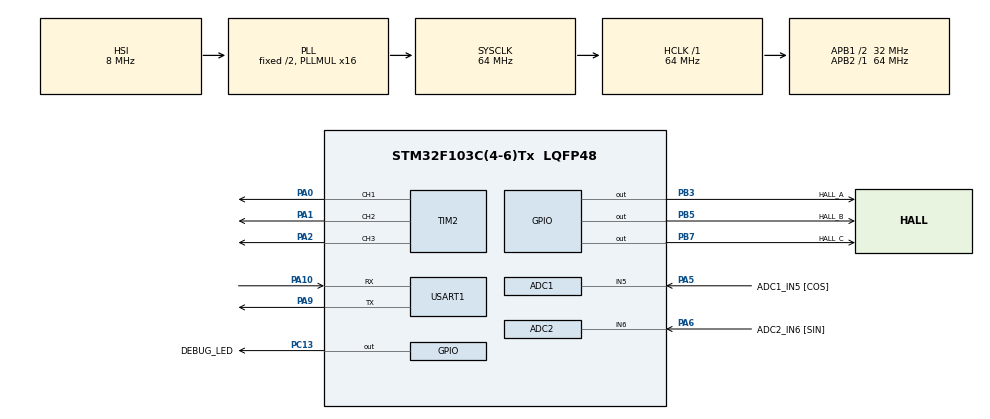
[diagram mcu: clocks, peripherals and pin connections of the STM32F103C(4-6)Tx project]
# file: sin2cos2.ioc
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ADC1.Channel-1\#ChannelRegularConversion=ADC_CHANNEL_5
ADC1.NbrOfConversionFlag=1
ADC1.Rank-1\#ChannelRegularConversion=1
ADC1.SamplingTime-1\#ChannelRegularConversion=ADC_SAMPLETIME_1CYCLE_5
ADC1.master=1
ADC2.Channel-2\#ChannelRegularConversion=ADC_CHANNEL_6
ADC2.NbrOfConversionFlag=1
ADC2.Rank-2\#ChannelRegularConversion=1
ADC2.SamplingTime-2\#ChannelRegularConversion=ADC_SAMPLETIME_1CYCLE_5
Mcu.Family=STM32F1
Mcu.Name=STM32F103C(4-6)Tx
Mcu.Package=LQFP48
NVIC.PriorityGroup=NVIC_PRIORITYGROUP_4
PA0-WKUP.Signal=S_TIM2_CH1_ETR
PA1.Signal=S_TIM2_CH2
PA10.Mode=Asynchronous
PA10.Signal=USART1_RX
PA2.Signal=S_TIM2_CH3
PA5.GPIO_Label=ADC1_IN5 [COS]
PA5.Signal=ADCx_IN5
PA6.GPIO_Label=ADC2_IN6 [SIN]
PA6.Signal=ADCx_IN6
PA9.Mode=Asynchronous
PA9.Signal=USART1_TX
PB3.GPIO_Label=HALL_A
PB3.Signal=GPIO_Output
PB5.GPIO_Label=HALL_B
PB5.GPIO_PuPd=GPIO_PULLDOWN
PB5.Signal=GPIO_Output
PB7.GPIO_Label=HALL_C
PB7.Signal=GPIO_Output
PC13-TAMPER-RTC.GPIO_Label=DEBUG_LED
PC13-TAMPER-RTC.Signal=GPIO_Output
ProjectManager.HeapSize=0x200
ProjectManager.StackSize=0x400
ProjectManager.TargetToolchain=Makefile
RCC.ADCPresc=RCC_ADCPCLK2_DIV6
RCC.AHBFreq_Value=64000000
RCC.APB1CLKDivider=RCC_HCLK_DIV2
RCC.APB1Freq_Value=32000000
RCC.APB1TimFreq_Value=64000000
RCC.APB2Freq_Value=64000000
RCC.APB2TimFreq_Value=64000000
RCC.HCLKFreq_Value=64000000
RCC.PLLMUL=RCC_PLL_MUL16
RCC.SYSCLKFreq_VALUE=64000000
RCC.SYSCLKSource=RCC_SYSCLKSOURCE_PLLCLK
RCC.USBFreq_Value=64000000
SH.ADCx_IN5.0=ADC1_IN5,IN5
SH.ADCx_IN6.0=ADC2_IN6,IN6
SH.S_TIM2_CH1_ETR.0=TIM2_CH1,PWM Generation1 CH1
SH.S_TIM2_CH2.0=TIM2_CH2,PWM Generation2 CH2
SH.S_TIM2_CH3.0=TIM2_CH3,PWM Generation3 CH3
TIM2.Channel-PWM\ Generation1\ CH1=TIM_CHANNEL_1
TIM2.Channel-PWM\ Generation2\ CH2=TIM_CHANNEL_2
TIM2.Channel-PWM\ Generation3\ CH3=TIM_CHANNEL_3
USART1.VirtualMode=VM_ASYNC
VP_SYS_VS_ND.Mode=No_Debug
board=custom

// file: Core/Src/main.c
/* USER CODE BEGIN Header */
/**
 ******************************************************************************
 * @file           : main.c
 * @brief          : Main program body
 ******************************************************************************
 * @attention
 *
 * Copyright (c) 2025 STMicroelectronics.
 * All rights reserved.
 *
 * This software is licensed under terms that can be found in the LICENSE file
 * in the root directory of this software component.
 * If no LICENSE file comes with this software, it is provided AS-IS.
 *
 ******************************************************************************
 */
/* USER CODE END Header */
#include "main.h"
#include "adc.h"
#include "tim.h"
#include "usart.h"
#include "gpio.h"

/* USER CODE BEGIN Includes */
#include "atan_lut.h"
#include "math.h"
#include "stm32f1xx_hal_gpio.h"
#include <stdio.h>
/* USER CODE END Includes */

/* USER CODE BEGIN PD */
#define SIN_PERIODS_PER_REV 1
#define HALL_PERIODS_PER_REV 20
#define OFFSET 0
#define LUT_SIZE 1024
#define ADC_MAX 3479.0
#define ADC_MIN 1850.0

/* USER CODE END PD */

void SystemClock_Config(void);
/* USER CODE BEGIN PFP */
static float fast_atan(uint16_t ADC_C, uint16_t ADC_S);
void HallPositionOutput(int theta_deg);
#define PUTCHAR_PROTOTYPE int __io_putchar(int ch)
/* USER CODE END PFP */

int main(void)
{

  /* USER CODE BEGIN 1 */

  uint16_t sin_adc = 0;
  uint16_t cos_adc = 0;
  float theta_rad;
  int theta_deg; // only for debugging
  int historical_value = 0; // Initialize historical value for decay and merge
  int merged_value = 0; // Initialize merged value

  int sin;
  int cos;
  int rad;
  int deg;
  /* USER CODE END 1 */

  /* MCU Configuration--------------------------------------------------------*/

  /* Reset of all peripherals, Initializes the Flash interface and the Systick. */
  HAL_Init();

  /* Configure the system clock */
  SystemClock_Config();

  /* Initialize all configured peripherals */
  MX_GPIO_Init();
  MX_ADC1_Init();
  MX_ADC2_Init();
  MX_USART1_UART_Init();
  MX_TIM2_Init();

  /* Infinite loop */
  /* USER CODE BEGIN WHILE */
  while (1) {
    HAL_ADC_Start(&hadc1); // Needs to be called every time
    HAL_ADC_PollForConversion(&hadc1, HAL_MAX_DELAY);
    cos_adc = decayAndMerge(cos_adc, HAL_ADC_GetValue(&hadc1)); // Decay and merge the new value with the historical value

    HAL_ADC_Start(&hadc2); // Needs to be called every time
    HAL_ADC_PollForConversion(&hadc2, HAL_MAX_DELAY);
    sin_adc = decayAndMerge(sin_adc, HAL_ADC_GetValue(&hadc2)); // Decay and merge the new value with the historical value

    // cos_adc = 1000;
    // sin_adc = 3000; // Test values for debugging

    // theta_rad = fast_atan(cos_adc, sin_adc);
    const float midpoint = (ADC_MAX + ADC_MIN) / 2.0f;
    float num = cos_adc - midpoint;
    float den = sin_adc - midpoint;
    if (den != 0){
      theta_rad = atan2f(num, den); // Use atan2 for better handling of quadrants
    }
    else {
      theta_rad = 0; // Handle the case where den is zero to avoid division by zero
    }

    theta_deg = (int)(180.0 / M_PI * theta_rad)+180;

    // if (cos_adc > 180) {
    //   HAL_GPIO_WritePin(DEBUG_LED_GPIO_Port, DEBUG_LED_Pin, GPIO_PIN_SET);
    // } else {
    //   HAL_GPIO_WritePin(DEBUG_LED_GPIO_Port, DEBUG_LED_Pin, GPIO_PIN_RESET);
    // }
    /* USER CODE END WHILE */

    /* USER CODE BEGIN 3 */
    rad = (int)(theta_rad * 1000); // Convert to milliradians
    // printf("ADC_C: %d ADC_S: %d theta_deg: %d rad: %d (millirad)\r\n", cos_adc, sin_adc, theta_deg, rad);

    HallPositionOutput_10PairNot(theta_deg); // Call the function to output the Hall position
    // HAL_Delay(10);

  }
  /* USER CODE END 3 */
}

void SystemClock_Config(void)
{
  RCC_OscInitTypeDef RCC_OscInitStruct = {0};
  RCC_ClkInitTypeDef RCC_ClkInitStruct = {0};
  RCC_PeriphCLKInitTypeDef PeriphClkInit = {0};

  /** Initializes the RCC Oscillators according to the specified parameters
  * in the RCC_OscInitTypeDef structure.
  */
  RCC_OscInitStruct.OscillatorType = RCC_OSCILLATORTYPE_HSI;
  RCC_OscInitStruct.HSIState = RCC_HSI_ON;
  RCC_OscInitStruct.HSICalibrationValue = RCC_HSICALIBRATION_DEFAULT;
  RCC_OscInitStruct.PLL.PLLState = RCC_PLL_ON;
  RCC_OscInitStruct.PLL.PLLSource = RCC_PLLSOURCE_HSI_DIV2;
  RCC_OscInitStruct.PLL.PLLMUL = RCC_PLL_MUL16;
  if (HAL_RCC_OscConfig(&RCC_OscInitStruct) != HAL_OK)
  {
    Error_Handler();
  }

  /** Initializes the CPU, AHB and APB buses clocks
  */
  RCC_ClkInitStruct.ClockType = RCC_CLOCKTYPE_HCLK|RCC_CLOCKTYPE_SYSCLK
                              |RCC_CLOCKTYPE_PCLK1|RCC_CLOCKTYPE_PCLK2;
  RCC_ClkInitStruct.SYSCLKSource = RCC_SYSCLKSOURCE_PLLCLK;
  RCC_ClkInitStruct.AHBCLKDivider = RCC_SYSCLK_DIV1;
  RCC_ClkInitStruct.APB1CLKDivider = RCC_HCLK_DIV2;
  RCC_ClkInitStruct.APB2CLKDivider = RCC_HCLK_DIV1;

  if (HAL_RCC_ClockConfig(&RCC_ClkInitStruct, FLASH_LATENCY_2) != HAL_OK)
  {
    Error_Handler();
  }
  PeriphClkInit.PeriphClockSelection = RCC_PERIPHCLK_ADC;
  PeriphClkInit.AdcClockSelection = RCC_ADCPCLK2_DIV6;
  if (HAL_RCCEx_PeriphCLKConfig(&PeriphClkInit) != HAL_OK)
  {
    Error_Handler();
  }
}

/* USER CODE BEGIN 4 */

static float fast_atan(uint16_t ADC_C, uint16_t ADC_S) {
  const float midpoint = (ADC_MAX + ADC_MIN) / 2.0f;
  float num = ADC_C - midpoint;
  float den = ADC_S - midpoint;
  if (den == 0)
    return (num >= 0) ? 0 : M_PI;
  float r = fabs(num / den);
  int index = (int)(r * 1023.0f);
  float theta = ATAN_LUT[index];
  float next_theta = ATAN_LUT[index + 1];
  theta += (r - (index / 1023.0f)) * (next_theta - theta);
  if (num > den)
    theta = M_PI_2 - theta;
  if (num < 0 && den > 0)
    return M_PI + theta;
  if (den < 0)
    return M_PI - theta;
  return theta;
}

int decayAndMerge(int historical_value, int new_value){
  if(historical_value == 0){
    historical_value = new_value; // Initialize historical value if it's zero
  }
  float decay_rate = 0.05;

  return (int)(historical_value * (1.0-decay_rate) + new_value * decay_rate);

  // // Decay the historical value by a factor of 0.9
  // historical_value = (int)(historical_value * 0.9 + new_value * 0.1);
  // // Merge the new value with the decayed historical value
  // int merged_value = (int)(historical_value * 0.5 + new_value * 0.5);
  // return merged_value;
}

/**
 * @brief  This function is used to output the Hall position. For a single pole pair?
 * @param  theta_deg: The angle in degrees.
 * @retval None
 * @author Alex
 */
void HallPositionOutput(theta_deg){
  if(theta_deg >= 0 && theta_deg < 60) {
    //HALL A = 1, HALL_B = 0, HALL_C = 1
    HAL_GPIO_WritePin(HALL_A_GPIO_Port, HALL_A_Pin, GPIO_PIN_SET);
    HAL_GPIO_WritePin(HALL_B_GPIO_Port, HALL_B_Pin, GPIO_PIN_RESET);
    HAL_GPIO_WritePin(HALL_C_GPIO_Port, HALL_C_Pin, GPIO_PIN_SET);

    // printf("HALL A = 1, HALL B = 0, HALL C = 1\r\n");
  } else if (theta_deg >= 60 && theta_deg < 120){
    //HALL A = 1, HALL_B = 0, HALL_C = 0
    HAL_GPIO_WritePin(HALL_A_GPIO_Port, HALL_A_Pin, GPIO_PIN_SET);
    HAL_GPIO_WritePin(HALL_B_GPIO_Port, HALL_B_Pin, GPIO_PIN_RESET);
    HAL_GPIO_WritePin(HALL_C_GPIO_Port, HALL_C_Pin, GPIO_PIN_RESET);

    // printf("HALL A = 1, HALL B = 0, HALL C = 0\r\n");
  } else if (theta_deg >= 120 && theta_deg < 180){
    //HALL A = 1, HALL_B = 1, HALL_C = 0
    HAL_GPIO_WritePin(HALL_A_GPIO_Port, HALL_A_Pin, GPIO_PIN_SET);
    HAL_GPIO_WritePin(HALL_B_GPIO_Port, HALL_B_Pin, GPIO_PIN_SET);
    HAL_GPIO_WritePin(HALL_C_GPIO_Port, HALL_C_Pin, GPIO_PIN_RESET);

    // printf("HALL A = 1, HALL B = 1, HALL C = 0\r\n");
  } else if (theta_deg >= 180 && theta_deg < 240){
    //HALL A = 0, HALL_B = 1, HALL_C = 0
    HAL_GPIO_WritePin(HALL_A_GPIO_Port, HALL_A_Pin, GPIO_PIN_RESET);
    HAL_GPIO_WritePin(HALL_B_GPIO_Port, HALL_B_Pin, GPIO_PIN_SET);
    HAL_GPIO_WritePin(HALL_C_GPIO_Port, HALL_C_Pin, GPIO_PIN_RESET);

    // printf("HALL A = 0, HALL B = 1, HALL C = 0\r\n");
  } else if (theta_deg >= 240 && theta_deg < 300){
    //HALL A = 0, HALL_B = 1, HALL_C = 1
    HAL_GPIO_WritePin(HALL_A_GPIO_Port, HALL_A_Pin, GPIO_PIN_RESET);
    HAL_GPIO_WritePin(HALL_B_GPIO_Port, HALL_B_Pin, GPIO_PIN_SET);
    HAL_GPIO_WritePin(HALL_C_GPIO_Port, HALL_C_Pin, GPIO_PIN_SET);

    // printf("HALL A = 0, HALL B = 1, HALL C = 1\r\n");
  } else if (theta_deg >= 300 && theta_deg < 360){
    //HALL A = 0, HALL_B = 0, HALL_C = 1
    HAL_GPIO_WritePin(HALL_A_GPIO_Port, HALL_A_Pin, GPIO_PIN_RESET);
    HAL_GPIO_WritePin(HALL_B_GPIO_Port, HALL_B_Pin, GPIO_PIN_RESET);
    HAL_GPIO_WritePin(HALL_C_GPIO_Port, HALL_C_Pin, GPIO_PIN_SET);

    // printf("HALL A = 0, HALL B = 0, HALL C = 1\r\n");
  } else {
    // Invalid angle
    // printf("Invalid angle: %d\r\n", theta_deg);
  }

}

/**
 * @brief  This function is used to output the Hall position for a 10-pair motor.
 * @param  theta_deg: The angle in degrees.
 * @retval None
 * @author Alex
 */
void HallPositionOutput_10Pair(theta_deg){
  // Normalize the angle to a single electrical cycle (0-36 degrees)
  int theta_elec = theta_deg % 36;

  if (theta_elec >= 0 && theta_elec < 6) {
    HAL_GPIO_WritePin(HALL_A_GPIO_Port, HALL_A_Pin, GPIO_PIN_RESET);
    HAL_GPIO_WritePin(HALL_B_GPIO_Port, HALL_B_Pin, GPIO_PIN_SET);
    HAL_GPIO_WritePin(HALL_C_GPIO_Port, HALL_C_Pin, GPIO_PIN_RESET);
    // printf("HALL A = 1, HALL B = 0, HALL C = 1\r\n");
  } else if (theta_elec >= 6 && theta_elec < 12) {
    HAL_GPIO_WritePin(HALL_A_GPIO_Port, HALL_A_Pin, GPIO_PIN_SET);
    HAL_GPIO_WritePin(HALL_B_GPIO_Port, HALL_B_Pin, GPIO_PIN_SET);
    HAL_GPIO_WritePin(HALL_C_GPIO_Port, HALL_C_Pin, GPIO_PIN_RESET);
    // printf("HALL A = 1, HALL B = 0, HALL C = 0\r\n");
  } else if (theta_elec >= 12 && theta_elec < 18) {
    HAL_GPIO_WritePin(HALL_A_GPIO_Port, HALL_A_Pin, GPIO_PIN_SET);
    HAL_GPIO_WritePin(HALL_B_GPIO_Port, HALL_B_Pin, GPIO_PIN_RESET);
    HAL_GPIO_WritePin(HALL_C_GPIO_Port, HALL_C_Pin, GPIO_PIN_RESET);
    // printf("HALL A = 1, HALL B = 1, HALL C = 0\r\n");
  } else if (theta_elec >= 18 && theta_elec < 24) {
    HAL_GPIO_WritePin(HALL_A_GPIO_Port, HALL_A_Pin, GPIO_PIN_SET);
    HAL_GPIO_WritePin(HALL_B_GPIO_Port, HALL_B_Pin, GPIO_PIN_RESET);
    HAL_GPIO_WritePin(HALL_C_GPIO_Port, HALL_C_Pin, GPIO_PIN_SET);
    // printf("HALL A = 0, HALL B = 1, HALL C = 0\r\n");
  } else if (theta_elec >= 24 && theta_elec < 30) {
    HAL_GPIO_WritePin(HALL_A_GPIO_Port, HALL_A_Pin, GPIO_PIN_RESET);
    HAL_GPIO_WritePin(HALL_B_GPIO_Port, HALL_B_Pin, GPIO_PIN_RESET);
    HAL_GPIO_WritePin(HALL_C_GPIO_Port, HALL_C_Pin, GPIO_PIN_SET);
    // printf("HALL A = 0, HALL B = 1, HALL C = 1\r\n");
  } else if (theta_elec >= 30 && theta_elec < 36) {
    HAL_GPIO_WritePin(HALL_A_GPIO_Port, HALL_A_Pin, GPIO_PIN_RESET);
    HAL_GPIO_WritePin(HALL_B_GPIO_Port, HALL_B_Pin, GPIO_PIN_SET);
    HAL_GPIO_WritePin(HALL_C_GPIO_Port, HALL_C_Pin, GPIO_PIN_SET);
    // printf("HALL A = 0, HALL B = 0, HALL C = 1\r\n");
  } else {
    // printf("Invalid angle: %d\r\n", theta_deg);
  }

}

/**
 * @brief  This function is used to output the Hall position for a 10-pair motor.
 * @param  theta_deg: The angle in degrees.
 * @retval None
 * @author Alex
 */
void HallPositionOutput_10PairNot(theta_deg){
  // Normalize the angle to a single electrical cycle (0-36 degrees)
  int theta_elec = theta_deg % 36;

  if (theta_elec >= 0 && theta_elec < 6) {
    HAL_GPIO_WritePin(HALL_A_GPIO_Port, HALL_A_Pin, GPIO_PIN_SET);
    HAL_GPIO_WritePin(HALL_B_GPIO_Port, HALL_B_Pin, GPIO_PIN_RESET);
    HAL_GPIO_WritePin(HALL_C_GPIO_Port, HALL_C_Pin, GPIO_PIN_SET);
    // printf("HALL A = 1, HALL B = 0, HALL C = 1\r\n");
  } else if (theta_elec >= 6 && theta_elec < 12) {
    HAL_GPIO_WritePin(HALL_A_GPIO_Port, HALL_A_Pin, GPIO_PIN_RESET);
    HAL_GPIO_WritePin(HALL_B_GPIO_Port, HALL_B_Pin, GPIO_PIN_RESET);
    HAL_GPIO_WritePin(HALL_C_GPIO_Port, HALL_C_Pin, GPIO_PIN_SET);
    // printf("HALL A = 1, HALL B = 0, HALL C = 0\r\n");
  } else if (theta_elec >= 12 && theta_elec < 18) {
    HAL_GPIO_WritePin(HALL_A_GPIO_Port, HALL_A_Pin, GPIO_PIN_RESET);
    HAL_GPIO_WritePin(HALL_B_GPIO_Port, HALL_B_Pin, GPIO_PIN_SET);
    HAL_GPIO_WritePin(HALL_C_GPIO_Port, HALL_C_Pin, GPIO_PIN_SET);
    // printf("HALL A = 1, HALL B = 1, HALL C = 0\r\n");
  } else if (theta_elec >= 18 && theta_elec < 24) {
    HAL_GPIO_WritePin(HALL_A_GPIO_Port, HALL_A_Pin, GPIO_PIN_RESET);
    HAL_GPIO_WritePin(HALL_B_GPIO_Port, HALL_B_Pin, GPIO_PIN_SET);
    HAL_GPIO_WritePin(HALL_C_GPIO_Port, HALL_C_Pin, GPIO_PIN_RESET);
    // printf("HALL A = 0, HALL B = 1, HALL C = 0\r\n");
  } else if (theta_elec >= 24 && theta_elec < 30) {
    HAL_GPIO_WritePin(HALL_A_GPIO_Port, HALL_A_Pin, GPIO_PIN_SET);
    HAL_GPIO_WritePin(HALL_B_GPIO_Port, HALL_B_Pin, GPIO_PIN_SET);
    HAL_GPIO_WritePin(HALL_C_GPIO_Port, HALL_C_Pin, GPIO_PIN_RESET);
    // printf("HALL A = 0, HALL B = 1, HALL C = 1\r\n");
  } else if (theta_elec >= 30 && theta_elec < 36) {
    HAL_GPIO_WritePin(HALL_A_GPIO_Port, HALL_A_Pin, GPIO_PIN_SET);
    HAL_GPIO_WritePin(HALL_B_GPIO_Port, HALL_B_Pin, GPIO_PIN_RESET);
    HAL_GPIO_WritePin(HALL_C_GPIO_Port, HALL_C_Pin, GPIO_PIN_RESET);
    // printf("HALL A = 0, HALL B = 0, HALL C = 1\r\n");
  } else {
    // printf("Invalid angle: %d\r\n", theta_deg);
  }

}

/**
 * @brief  This function is used to output the Hall position for a 20-pair motor.
 * @param  theta_deg: The angle in degrees.
 * @retval None
 * @author Alex
 */
void HallPositionOutput_20Pair(theta_deg){
  // Normalize the angle to a single electrical cycle (0-18 degrees)
  int theta_elec = theta_deg % 18;

  if (theta_elec >= 0 && theta_elec < 3) {
    HAL_GPIO_WritePin(HALL_A_GPIO_Port, HALL_A_Pin, GPIO_PIN_SET);
    HAL_GPIO_WritePin(HALL_B_GPIO_Port, HALL_B_Pin, GPIO_PIN_RESET);
    HAL_GPIO_WritePin(HALL_C_GPIO_Port, HALL_C_Pin, GPIO_PIN_SET);
    // printf("HALL A = 1, HALL B = 0, HALL C = 1\r\n");
  } else if (theta_elec >= 3 && theta_elec < 6) {
    HAL_GPIO_WritePin(HALL_A_GPIO_Port, HALL_A_Pin, GPIO_PIN_SET);
    HAL_GPIO_WritePin(HALL_B_GPIO_Port, HALL_B_Pin, GPIO_PIN_RESET);
    HAL_GPIO_WritePin(HALL_C_GPIO_Port, HALL_C_Pin, GPIO_PIN_RESET);
    // printf("HALL A = 1, HALL B = 0, HALL C = 0\r\n");
  } else if (theta_elec >= 6 && theta_elec < 9) {
    HAL_GPIO_WritePin(HALL_A_GPIO_Port, HALL_A_Pin, GPIO_PIN_SET);
    HAL_GPIO_WritePin(HALL_B_GPIO_Port, HALL_B_Pin, GPIO_PIN_SET);
    HAL_GPIO_WritePin(HALL_C_GPIO_Port, HALL_C_Pin, GPIO_PIN_RESET);
    // printf("HALL A = 1, HALL B = 1, HALL C = 0\r\n");
  } else if (theta_elec >= 9 && theta_elec < 12) {
    HAL_GPIO_WritePin(HALL_A_GPIO_Port, HALL_A_Pin, GPIO_PIN_RESET);
    HAL_GPIO_WritePin(HALL_B_GPIO_Port, HALL_B_Pin, GPIO_PIN_SET);
    HAL_GPIO_WritePin(HALL_C_GPIO_Port, HALL_C_Pin, GPIO_PIN_RESET);
    // printf("HALL A = 0, HALL B = 1, HALL C = 0\r\n");
  } else if (theta_elec >= 12 && theta_elec < 15) {
    HAL_GPIO_WritePin(HALL_A_GPIO_Port, HALL_A_Pin, GPIO_PIN_RESET);
    HAL_GPIO_WritePin(HALL_B_GPIO_Port, HALL_B_Pin, GPIO_PIN_SET);
    HAL_GPIO_WritePin(HALL_C_GPIO_Port, HALL_C_Pin, GPIO_PIN_SET);
    // printf("HALL A = 0, HALL B = 1, HALL C = 1\r\n");
  } else if (theta_elec >= 15 && theta_elec < 18) {
    HAL_GPIO_WritePin(HALL_A_GPIO_Port, HALL_A_Pin, GPIO_PIN_RESET);
    HAL_GPIO_WritePin(HALL_B_GPIO_Port, HALL_B_Pin, GPIO_PIN_RESET);
    HAL_GPIO_WritePin(HALL_C_GPIO_Port, HALL_C_Pin, GPIO_PIN_SET);
    // printf("HALL A = 0, HALL B = 0, HALL C = 1\r\n");
  } else {
    // printf("Invalid angle: %d\r\n", theta_deg);
  }

}

/**
 * @brief  Retargets the C library printf function to the USART.
 * @retval None
 */
PUTCHAR_PROTOTYPE {
  HAL_UART_Transmit(&huart1, (uint8_t *)&ch, 1, 0xFFFF);
  return ch;
}
/* USER CODE END 4 */

void Error_Handler(void)
{
  /* USER CODE BEGIN Error_Handler_Debug */
  /* User can add his own implementation to report the HAL error return state */
  __disable_irq();
  while (1) {
    printf("Error\r\n");
    HAL_Delay(100);
  }
  /* USER CODE END Error_Handler_Debug */
}

#ifdef  USE_FULL_ASSERT
/**
  * @brief  Reports the name of the source file and the source line number
  *         where the assert_param error has occurred.
  * @param  file: pointer to the source file name
  * @param  line: assert_param error line source number
  * @retval None
  */
void assert_failed(uint8_t *file, uint32_t line)
{
  /* USER CODE BEGIN 6 */
  /* User can add his own implementation to report the file name and line
     number, ex: printf("Wrong parameters value: file %s on line %d\r\n", file,
     line) */
  /* USER CODE END 6 */
}
#endif /* USE_FULL_ASSERT */
